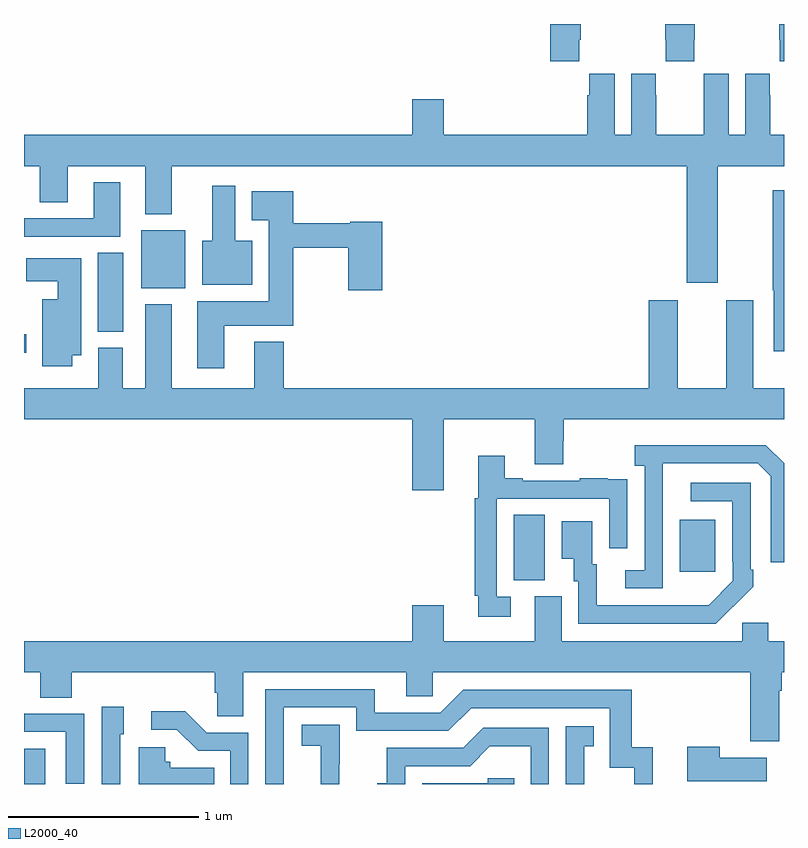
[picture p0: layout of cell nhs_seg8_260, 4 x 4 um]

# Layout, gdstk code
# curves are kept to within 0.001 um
import gdstk
lib = gdstk.Library(unit=1e-6, precision=1e-09)
def R(c, l, rs):  # rectangles x0, y0, x1, y1
    for r in rs: c.add(gdstk.rectangle(r[:2], r[2:], *l))
def P(c, l, *ps):  # polygons
    for p in ps: c.add(gdstk.Polygon(p, *l))
L2000_40 = (2000, 40)

nhs_seg8_260 = lib.new_cell('nhs_seg8_260')
R(nhs_seg8_260, L2000_40, [(127,1127.9,127.111,1128.085), (129.578,1128.973,129.742,1129.316), (130.451,1129.017,130.639,1129.291), (127,1130.171,127.012,1130.268), (127.388,1130.281,127.522,1130.696), (127.616,1130.51,127.849,1130.815)])
P(nhs_seg8_260, L2000_40, [(131,1131.9),(130.975,1131.9),(130.975,1131.817),(130.977,1131.817),(130.977,1131.705),(131,1131.705)],
  [(130.527,1131.817),(130.53,1131.817),(130.53,1131.9),(130.375,1131.9),(130.375,1131.817),(130.377,1131.817),(130.377,1131.705),(130.527,1131.705)],
  [(129.923,1131.817),(129.93,1131.817),(129.93,1131.9),(129.77,1131.9),(129.77,1131.705),(129.923,1131.705)],
  [(130.651,1131.152),(131,1131.152),(131,1131.316),(130.927,1131.316),(130.927,1131.524),(130.926,1131.524),(130.926,1131.637),(130.796,1131.637),(130.796,1131.316),(130.708,1131.316),(130.708,1131.637),(130.578,1131.637),(130.578,1131.524),(130.577,1131.524),(130.577,1131.316),(130.327,1131.316),(130.327,1131.524),(130.326,1131.524),(130.326,1131.637),(130.196,1131.637),(130.196,1131.316),(130.108,1131.316),(130.108,1131.637),(129.974,1131.637),(129.974,1131.524),(129.965,1131.524),(129.965,1131.316),(129.208,1131.316),(129.208,1131.505),(129.044,1131.505),(129.044,1131.316),(127,1131.316),(127,1131.152),(127.084,1131.152),(127.084,1130.962),(127.231,1130.962),(127.231,1131.152),(127.637,1131.152),(127.637,1130.9),(127.777,1130.9),(127.777,1131.152),(130.487,1131.152),(130.487,1130.538),(130.651,1130.538)],
  [(127.507,1131.067),(127.367,1131.067),(127.367,1130.877),(127,1130.877),(127,1130.781),(127.507,1130.781)],
  [(128.2,1130.758),(128.113,1130.758),(128.113,1131.049),(127.991,1131.049),(127.991,1130.758),(127.937,1130.758),(127.937,1130.528),(128.2,1130.528)],
  [(131,1131.025),(130.942,1131.025),(130.942,1130.5),(130.947,1130.5),(130.947,1130.178),(131,1130.178)],
  [(128.053,1130.312),(128.418,1130.312),(128.418,1130.722),(128.707,1130.722),(128.707,1130.499),(128.885,1130.499),(128.885,1130.859),(128.718,1130.859),(128.718,1130.851),(128.418,1130.851),(128.418,1131.019),(128.198,1131.019),(128.198,1130.867),(128.288,1130.867),(128.288,1130.44),(127.913,1130.44),(127.913,1130.088),(128.053,1130.088)],
  [(127.255,1130.156),(127.3,1130.156),(127.3,1130.668),(127.013,1130.668),(127.013,1130.546),(127.178,1130.546),(127.178,1130.452),(127.097,1130.452),(127.097,1130.1),(127.255,1130.1)],
  [(129.208,1129.82),(129.689,1129.82),(129.689,1129.582),(129.837,1129.582),(129.837,1129.707),(129.842,1129.707),(129.842,1129.82),(131,1129.82),(131,1129.984),(130.837,1129.984),(130.837,1130.446),(130.697,1130.446),(130.697,1129.984),(130.441,1129.984),(130.441,1130.446),(130.289,1130.446),(130.289,1129.984),(128.366,1129.984),(128.366,1130.227),(128.213,1130.227),(128.213,1129.984),(127.777,1129.984),(127.777,1130.425),(127.637,1130.425),(127.637,1129.984),(127.519,1129.984),(127.519,1130.196),(127.391,1130.196),(127.391,1129.984),(127,1129.984),(127,1129.82),(129.044,1129.82),(129.044,1129.446),(129.208,1129.446)],
  [(130.362,1129.387),(130.363,1129.587),(130.863,1129.587),(130.929,1129.521),(130.929,1129.068),(131,1129.068),(131,1129.588),(130.904,1129.684),(130.215,1129.684),(130.215,1129.574),(130.266,1129.574),(130.266,1129.026),(130.164,1129.026),(130.164,1128.93),(130.362,1128.93)],
  [(129.562,1128.885),(129.489,1128.885),(129.489,1129.401),(130.08,1129.401),(130.08,1129.14),(130.176,1129.14),(130.176,1129.394),(130.175,1129.394),(130.175,1129.503),(130.073,1129.503),(130.073,1129.51),(129.925,1129.51),(129.925,1129.497),(129.625,1129.497),(129.625,1129.51),(129.529,1129.51),(129.529,1129.627),(129.392,1129.627),(129.392,1129.404),(129.373,1129.404),(129.373,1128.892),(129.392,1128.892),(129.392,1128.78),(129.562,1128.78)],
  [(130.733,1128.835),(130.734,1128.834),(130.839,1128.939),(130.839,1129.027),(130.824,1129.027),(130.824,1129.485),(130.509,1129.485),(130.509,1129.389),(130.728,1129.389),(130.728,1129.069),(130.731,1129.069),(130.731,1128.969),(130.603,1128.841),(130.015,1128.84),(130.015,1129.056),(129.991,1129.056),(129.991,1129.282),(129.83,1129.282),(129.83,1129.085),(129.893,1129.085),(129.893,1128.966),(129.918,1128.966),(129.918,1128.744),(130.642,1128.744)],
  [(130.975,1128.392),(130.988,1128.392),(130.988,1128.488),(131,1128.488),(131,1128.652),(130.918,1128.652),(130.918,1128.75),(130.779,1128.75),(130.779,1128.652),(129.829,1128.652),(129.829,1128.888),(129.689,1128.888),(129.689,1128.652),(129.208,1128.652),(129.208,1128.841),(129.044,1128.841),(129.044,1128.652),(127,1128.652),(127,1128.488),(127.085,1128.488),(127.085,1128.355),(127.25,1128.355),(127.25,1128.488),(128.003,1128.488),(128.003,1128.379),(128.016,1128.379),(128.016,1128.256),(128.155,1128.256),(128.155,1128.488),(129.011,1128.488),(129.011,1128.361),(129.15,1128.361),(129.15,1128.488),(130.823,1128.488),(130.823,1128.126),(130.975,1128.126)],
  [(128.367,1128.303),(128.748,1128.303),(128.748,1128.18),(129.234,1128.18),(129.354,1128.3),(130.083,1128.3),(130.083,1127.985),(130.212,1127.985),(130.212,1127.9),(130.31,1127.9),(130.31,1128.094),(130.199,1128.094),(130.199,1128.396),(129.312,1128.396),(129.192,1128.276),(128.845,1128.276),(128.845,1128.399),(128.271,1128.399),(128.271,1127.9),(128.367,1127.9)],
  [(127.506,1128.162),(127.525,1128.162),(127.525,1128.307),(127.41,1128.307),(127.41,1127.9),(127.506,1127.9)],
  [(128.181,1128.171),(127.962,1128.171),(127.849,1128.284),(127.671,1128.284),(127.671,1128.186),(127.805,1128.186),(127.916,1128.075),(128.085,1128.075),(128.085,1127.9),(128.181,1127.9)],
  [(127.317,1128.27),(127.001,1128.27),(127.001,1128.272),(127,1128.272),(127,1128.174),(127.221,1128.174),(127.221,1127.901),(127.317,1127.901)],
  [(128.66,1128.005),(128.661,1128.005),(128.661,1128.211),(128.463,1128.211),(128.463,1128.101),(128.561,1128.101),(128.561,1127.9),(128.66,1127.9)],
  [(129.949,1128.099),(129.998,1128.099),(129.998,1128.205),(129.852,1128.205),(129.852,1127.9),(129.949,1127.9)],
  [(129.006,1127.994),(129.348,1127.994),(129.452,1128.098),(129.666,1128.098),(129.666,1127.9),(129.762,1127.9),(129.762,1128.195),(129.416,1128.195),(129.311,1128.09),(128.908,1128.09),(128.908,1127.905),(128.858,1127.905),(128.858,1127.9),(129.006,1127.9)],
  [(130.909,1128.037),(130.661,1128.037),(130.661,1128.097),(130.49,1128.097),(130.49,1127.915),(130.909,1127.915)],
  [(128,1127.986),(127.77,1127.986),(127.77,1128.018),(127.743,1128.018),(127.743,1128.094),(127.604,1128.094),(127.604,1127.9),(128,1127.9)],
  [(129.581,1127.931),(129.441,1127.931),(129.441,1127.904),(129.096,1127.904),(129.096,1127.9),(129.581,1127.9)])

lib.write_gds('nhs_seg8_260.gds')
